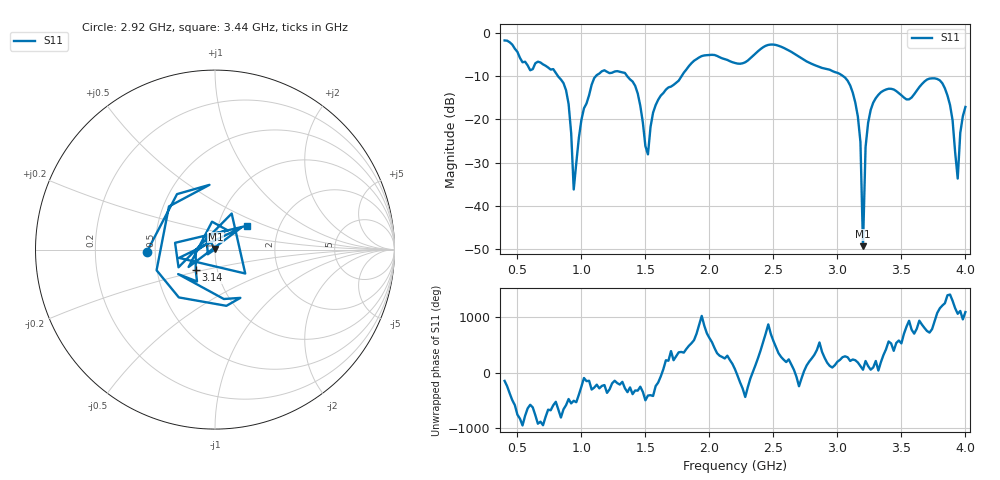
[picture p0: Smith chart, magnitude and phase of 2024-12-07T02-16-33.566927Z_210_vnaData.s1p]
!Created with skrf (http://scikit-rf.org).
# Hz S RI R 50.0
!freq ReS11 ImS11
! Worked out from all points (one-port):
!   181 points, 400 MHz to 4 GHz, reference 50 ohm
!   lowest |S11| = -49.2 dB at 3.2 GHz (marker M1), VSWR 1.01, Z = 50.2 + j0.284 ohm
!   |S11| at or under -10 dB: 816.7 MHz to 1.113 GHz (296.5 MHz wide, 30.7 % of centre); 1.357 GHz to 1.783 GHz (425.4 MHz wide, 27.1 % of centre); 3.044 GHz to end of sweep
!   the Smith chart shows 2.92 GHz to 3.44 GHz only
!   S11 on the Smith chart (normalised r, x): 2.92 GHz: 0.45, -0.02; 3.14 GHz: 0.79, -0.18; 3.44 GHz: 1.37, +0.38
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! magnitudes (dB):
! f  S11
! 400 MHz  -1.8
! 860 MHz  -11.6
! 900 MHz  -16.4
! 940 MHz  -36.2
! 1 GHz  -20.1
! 1.1 GHz  -10.5
! 1.3 GHz  -9.0
! 1.42 GHz  -12.2
! 1.52 GHz  -28.1
! 1.58 GHz  -16.7
! 1.76 GHz  -11.1
! 1.94 GHz  -5.4
! 2.2 GHz  -7.0
! 2.66 GHz  -4.8
! 2.92 GHz  -8.4
! 3.1 GHz  -12.2
! 3.14 GHz  -16.1
! 3.18 GHz  -25.2
! 3.2 GHz  -49.2
! 3.22 GHz  -26.4
! 3.24 GHz  -20.8
! 3.44 GHz  -13.1
! 3.56 GHz  -15.4
! 3.82 GHz  -11.7
! 3.9 GHz  -20.2
! 3.94 GHz  -33.6
! 3.96 GHz  -23.1
! 4 GHz  -17.1
